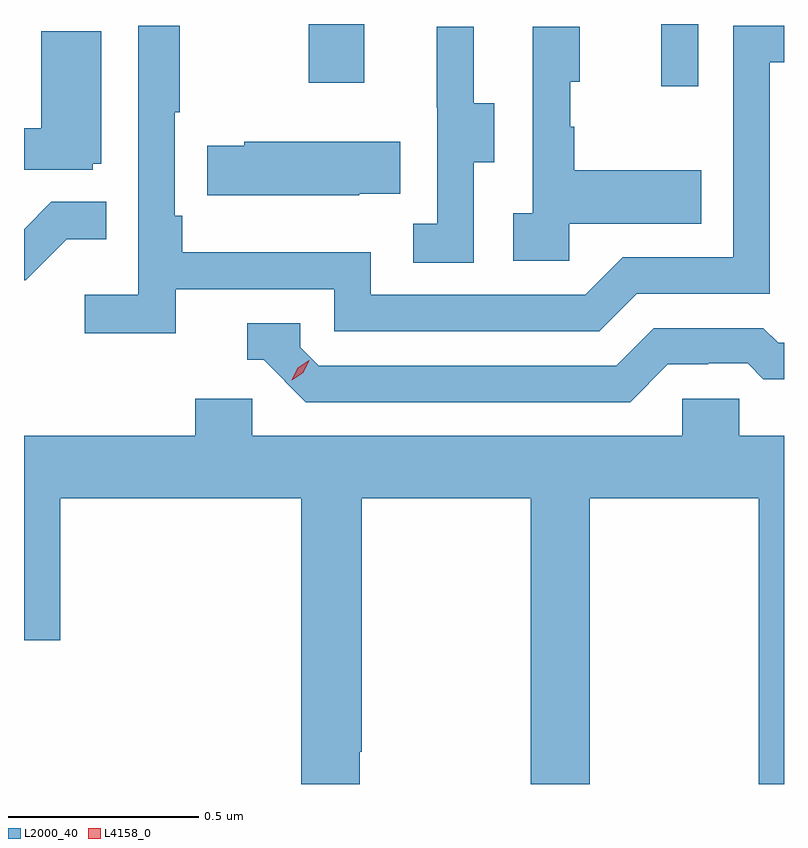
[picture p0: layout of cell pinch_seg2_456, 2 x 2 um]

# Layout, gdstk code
import gdstk
lib = gdstk.Library(unit=1e-6, precision=1e-09)
def R(c, l, rs):  # rectangles x0, y0, x1, y1
    for r in rs: c.add(gdstk.rectangle(r[:2], r[2:], *l))
def P(c, l, *ps):  # polygons
    for p in ps: c.add(gdstk.Polygon(p, *l))
L2000_40 = (2000, 40)
L4158_0 = (4158, 0)

pinch_seg2_456 = lib.new_cell('pinch_seg2_456')
R(pinch_seg2_456, L2000_40, [(921.998,614.088,922.095,614.252), (921.07,614.097,921.217,614.252)])
P(pinch_seg2_456, L2000_40, [(920.72,613.554),(921.138,613.554),(921.138,613.443),(921.835,613.443),(921.934,613.542),(922.284,613.542),(922.284,614.151),(922.321,614.151),(922.321,614.247),(922.188,614.247),(922.188,613.638),(921.897,613.638),(921.798,613.539),(921.234,613.539),(921.234,613.651),(920.738,613.651),(920.738,613.747),(920.718,613.747),(920.718,614.02),(920.731,614.02),(920.731,614.248),(920.622,614.248),(920.622,613.54),(920.481,613.54),(920.481,613.438),(920.72,613.438)],
  [(921.756,613.727),(922.103,613.727),(922.103,613.867),(921.769,613.867),(921.769,613.982),(921.759,613.982),(921.759,614.1),(921.784,614.1),(921.784,614.245),(921.66,614.245),(921.66,613.754),(921.609,613.754),(921.609,613.629),(921.756,613.629)],
  [(921.504,613.888),(921.559,613.888),(921.559,614.043),(921.505,614.043),(921.505,614.245),(921.407,614.245),(921.407,614.031),(921.408,614.031),(921.408,613.727),(921.345,613.727),(921.345,613.624),(921.504,613.624)],
  [(920.502,613.884),(920.524,613.884),(920.524,614.233),(920.366,614.233),(920.366,613.978),(920.321,613.978),(920.321,613.869),(920.502,613.869)],
  [(921.203,613.805),(921.311,613.805),(921.311,613.942),(920.901,613.942),(920.901,613.932),(920.803,613.932),(920.803,613.802),(921.203,613.802)],
  [(920.433,613.685),(920.537,613.685),(920.537,613.784),(920.393,613.784),(920.321,613.712),(920.321,613.578),(920.326,613.578)],
  [(922.015,613.356),(922.122,613.356),(922.122,613.359),(922.225,613.359),(922.267,613.317),(922.321,613.317),(922.321,613.413),(922.306,613.413),(922.267,613.452),(921.978,613.452),(921.879,613.353),(921.096,613.353),(921.048,613.401),(921.048,613.464),(920.909,613.464),(920.909,613.368),(920.952,613.368),(921.063,613.257),(921.916,613.257)],
  [(921.205,612.337),(921.21,612.337),(921.21,613.004),(921.655,613.004),(921.655,612.252),(921.81,612.252),(921.81,613.004),(922.255,613.004),(922.255,612.252),(922.321,612.252),(922.321,613.168),(922.203,613.168),(922.203,613.266),(922.053,613.266),(922.053,613.168),(920.922,613.168),(920.922,613.266),(920.771,613.266),(920.771,613.168),(920.321,613.168),(920.321,612.63),(920.416,612.63),(920.416,613.004),(921.05,613.004),(921.05,612.252),(921.205,612.252)])
P(pinch_seg2_456, L4158_0, [(921.025,613.315),(921.025,613.315),(921.041,613.348),(921.072,613.367),(921.072,613.367),(921.072,613.367),(921.056,613.334),(921.025,613.315)])

lib.write_gds('pinch_seg2_456.gds')
